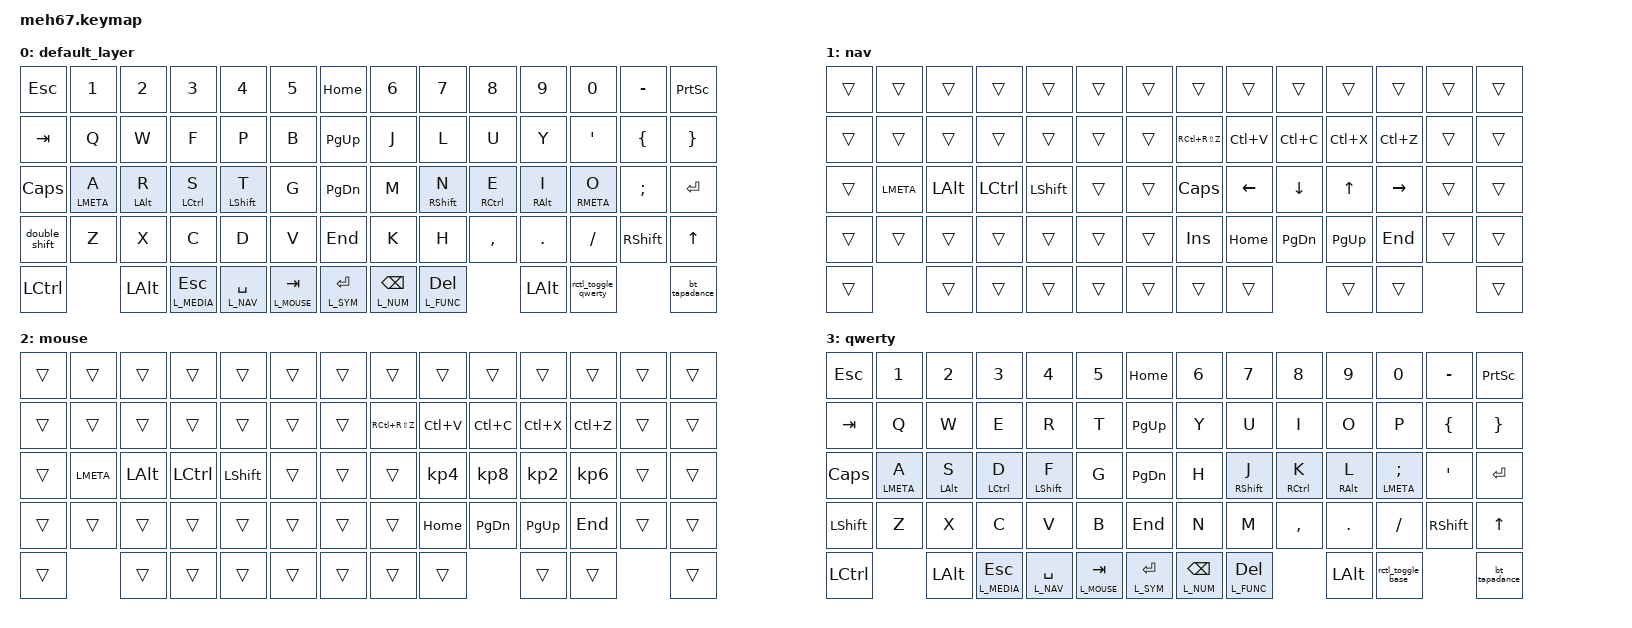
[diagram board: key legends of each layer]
/*
 * Copyright (c) 2020 The ZMK Contributors
 *
 * SPDX-License-Identifier: MIT
 */

#include <behaviors.dtsi>
#include <dt-bindings/zmk/keys.h>
#include <dt-bindings/zmk/bt.h>

#define L_BASE 0
#define L_NAV 1
#define L_MOUSE 2
#define L_QWERTY 3
#define L_NUM 4
#define L_SYM 5
#define L_FUNC 6
#define L_BT 7
#define L_MEDIA 8


// colemak macros
#define A_LMETA &mt LMETA A
#define R_LALT  &mt LALT R
#define S_LCTRL &mt LCTRL S
#define T_LSHFT &mt LSHFT T
#define N_RSHFT &mt RSHFT N
#define E_RCTRL &mt RCTRL E
#define I_RALT  &mt RALT I
#define O_RMETA &mt RMETA O

// qwerty versions
// a is the same
#define S_LALT  &mt LALT S
#define D_LCTRL &mt LCTRL D
#define F_LSHFT &mt LSHFT F
#define J_RSHFT &mt RSHFT J
#define K_RCTRL &mt RCTRL K
#define L_RALT  &mt RALT L
#define SEM_LMETA &mt LMETA SEMI

#define ______ &trans

&caps_word {
    continue-list = <UNDERSCORE MINUS>;
};
&lt {
    tapping-term-ms = <200>;
    quick-tap-ms = <200>;
};

&mt {
    tapping-term-ms = <300>;
    quick-tap-ms = <200>;
};



/ {
    macros {
        tln_base: type_base {
            label = "Type Base";
            compatible = "zmk,behavior-macro";
            #binding-cells = <0>;
            bindings = <&kp B &kp A &kp S &kp E>;
        };
        tln_nav: type_nav {
            label = "Type nav";
            compatible = "zmk,behavior-macro";
            #binding-cells = <0>;
            bindings = <&kp N &kp A &kp V>;
        };
        tln_mouse: type_mouse {
            label = "Type mouse";
            compatible = "zmk,behavior-macro";
            #binding-cells = <0>;
            bindings = <&kp M &kp O &kp U &kp S &kp E>;
        };
        tln_qwerty: type_qwerty {
            label = "Type qwerty";
            compatible = "zmk,behavior-macro";
            #binding-cells = <0>;
            bindings = <&kp Q &kp W &kp E &kp R &kp T &kp Y>;
        };
    };
};

/ {
    behaviors {
        // toggle qwerty if the K key is tapped twice
        rctl_toggle_qwerty: rctl_toggle_qwerty {
            label = "TOG_QWERTY";
            compatible = "zmk,behavior-tap-dance";
            #binding-cells = <0>;
            bindings =  < &kp RCTRL >, < &tog L_QWERTY >, < &tog L_BASE >;
        };

        rctl_toggle_base: rctl_toggle_base {
            label = "UNTOG_QWERTY";
            compatible = "zmk,behavior-tap-dance";
            #binding-cells = <0>;
            bindings =  < &kp RCTRL >, < &tog L_QWERTY >, < &tog L_BASE >;
        };

        bt_tapadance: bt_tapadance {
            label = "Switch bluetooth and clear profiles";
            compatible = "zmk,behavior-tap-dance";
            #binding-cells = <0>;
            bindings = < &bt BT_NXT >, < &bt BT_SEL 0 >, <&bt BT_CLR>;
        };

        double_shift: double_shift_capsword {
            label = "Double Shift Capsword";
            compatible = "zmk,behavior-tap-dance";
            #binding-cells = <0>;
            bindings = < &kp LSHFT >, < &caps_word >;
        };
    };

    keymap {
        compatible = "zmk,keymap";

        default_layer {
            bindings = <
// ┌───────────────┬───────────────┬───────────────┬───────────────┬───────────────┬───────────────┬───────────────┬───────────────┬───────────────┬───────────────┬───────────────┬───────────────┬───────────────┬───────────────┐
       &kp ESC        &kp N1           &kp N2           &kp N3           &kp N4          &kp N5         &kp HOME        &kp N6           &kp N7      &kp N8            &kp N9            &kp N0        &kp MINUS        &kp PSCRN
// ├───────────────┼───────────────┼───────────────┼───────────────┼───────────────┼───────────────┼───────────────┼───────────────┼───────────────┼───────────────┼───────────────┼───────────────┼───────────────┼───────────────┤
       &kp TAB        &kp Q            &kp W            &kp F            &kp P           &kp B          &kp PG_UP       &kp J            &kp L       &kp U             &kp Y             &kp SQT       &kp LBRC         &kp RBRC
// ├───────────────┼───────────────┼───────────────┼───────────────┼───────────────┼───────────────┼───────────────┼───────────────┼───────────────┼───────────────┼───────────────┼───────────────┼───────────────┼───────────────┤
       &kp CAPS       A_LMETA          R_LALT           S_LCTRL          T_LSHFT         &kp G          &kp PG_DN       &kp M            N_RSHFT     E_RCTRL           I_RALT           O_RMETA        &kp SEMI         &kp ENTER
// ├───────────────┼───────────────┼───────────────┼───────────────┼───────────────┼───────────────┼───────────────┼───────────────┼───────────────┼───────────────┼───────────────┼───────────────┼───────────────┼───────────────┤
     &double_shift      &kp Z        &kp X            &kp C            &kp D           &kp V          &kp END         &kp K            &kp H       &kp COMMA         &kp DOT           &kp FSLH      &kp RSHFT         &kp UP
// ├───────────────┴──────────┬────┴───────────────┴┬──────────────┴───┬───────────┴────────┬──────┴───────┬───────┴────┬──────────┴──────┬────────┴────────┬──────┴───────────────┴─────┬─────────┴───────────────┼───────────────┤
            &kp LCTRL               &kp LALT           &lt L_MEDIA ESC     &lt L_NAV SPACE   &lt L_MOUSE TAB &lt L_SYM ENTER &lt L_NUM BSPC  &lt L_FUNC DEL         &kp LALT                &rctl_toggle_qwerty      &bt_tapadance
// └──────────────────────────┴─────────────────────┴──────────────────┴────────────────────┴──────────────┴────────────┴─────────────────┴─────────────────┴────────────────────────────┴─────────────────────────┴───────────────┘
            >;
        };

        nav_layer {
                        label = "nav";
                        bindings = <
// ┌───────────────┬───────────────┬───────────────┬───────────────┬───────────────┬───────────────┬───────────────┬───────────────┬───────────────┬───────────────┬───────────────┬───────────────┬───────────────┬───────────────┐
       ______          ______          ______          ______          ______          ______          ______          ______          ______          ______          ______          ______          ______          ______
// ├───────────────┼───────────────┼───────────────┼───────────────┼───────────────┼───────────────┼───────────────┼───────────────┼───────────────┼───────────────┼───────────────┼───────────────┼───────────────┼───────────────┤
       ______            ______      ______            ______          ______          ______          ______        &kp RC(RS(Z))    &kp LC(V)      &kp LC(C)        &kp LC(X)        &kp LC(Z)        ______         ______
// ├───────────────┼───────────────┼───────────────┼───────────────┼───────────────┼───────────────┼───────────────┼───────────────┼───────────────┼───────────────┼───────────────┼───────────────┼───────────────┼───────────────┤
       ______           &kp LMETA    &kp LALT          &kp LCTRL      &kp LSHFT          ______          ______       &kp CAPS          &kp LEFT        &kp DOWN        &kp UP         &kp RIGHT         ______         ______
// ├───────────────┼───────────────┼───────────────┼───────────────┼───────────────┼───────────────┼───────────────┼───────────────┼───────────────┼───────────────┼───────────────┼───────────────┼───────────────┼───────────────┤
       ______            ______      ______            ______          ______          ______          ______          &kp INS           &kp HOME     &kp PG_DN        &kp PG_UP         &kp END       ______          ______
// ├───────────────┴──────────┬────┴───────────────┴┬──────────────┴───┬───────────┴────────┬──────┴───────┬───────┴────┬──────────┴──────┬────────┴────────┬──────┴───────────────┴─────┬─────────┴───────────────┼───────────────┤
       ______                         ______               ______              ______            ______         ______        ______            ______                 ______                      ______                ______
// └──────────────────────────┴─────────────────────┴──────────────────┴────────────────────┴──────────────┴────────────┴─────────────────┴─────────────────┴────────────────────────────┴─────────────────────────┴───────────────┘
                    >;
        };

        mouse_layer {
                label = "mouse";
                bindings = <

// ┌───────────────┬───────────────┬───────────────┬───────────────┬───────────────┬───────────────┬───────────────┬───────────────┬───────────────┬───────────────┬───────────────┬───────────────┬───────────────┬───────────────┐
        ______          ______          ______          ______          ______          ______          ______          ______          ______          ______          ______          ______          ______          ______
// ├───────────────┼───────────────┼───────────────┼───────────────┼───────────────┼───────────────┼───────────────┼───────────────┼───────────────┼───────────────┼───────────────┼───────────────┼───────────────┼───────────────┤
        ______            ______      ______            ______          ______          ______          ______        &kp RC(RS(Z))    &kp LC(V)      &kp LC(C)        &kp LC(X)        &kp LC(Z)        ______         ______
// ├───────────────┼───────────────┼───────────────┼───────────────┼───────────────┼───────────────┼───────────────┼───────────────┼───────────────┼───────────────┼───────────────┼───────────────┼───────────────┼───────────────┤
        ______           &kp LMETA    &kp LALT          &kp LCTRL      &kp LSHFT          ______          ______      ______           &kp KP_N4     &kp KP_N8       &kp KP_N2         &kp KP_N6         ______         ______
// ├───────────────┼───────────────┼───────────────┼───────────────┼───────────────┼───────────────┼───────────────┼───────────────┼───────────────┼───────────────┼───────────────┼───────────────┼───────────────┼───────────────┤
        ______            ______      ______            ______          ______          ______          ______          ______           &kp HOME     &kp PG_DN        &kp PG_UP         &kp END       ______          ______
// ├───────────────┴──────────┬────┴───────────────┴┬──────────────┴───┬───────────┴────────┬──────┴───────┬───────┴────┬──────────┴──────┬────────┴────────┬──────┴───────────────┴─────┬─────────┴───────────────┼───────────────┤
       ______                         ______               ______              ______            ______         ______        ______            ______                 ______                      ______                ______
// └──────────────────────────┴─────────────────────┴──────────────────┴────────────────────┴──────────────┴────────────┴─────────────────┴─────────────────┴────────────────────────────┴─────────────────────────┴───────────────┘
//                                                                                      TODO: add these in when you add mouse support and the other missing stuff &rclick       &lclick
                >;
        };
        qwerty {
                label = "qwerty";
    bindings = <
// ┌───────────────┬───────────────┬───────────────┬───────────────┬───────────────┬───────────────┬───────────────┬───────────────┬───────────────┬───────────────┬───────────────┬───────────────┬───────────────┬───────────────┐
        &kp ESC        &kp N1           &kp N2           &kp N3           &kp N4          &kp N5         &kp HOME        &kp N6           &kp N7      &kp N8            &kp N9            &kp N0        &kp MINUS        &kp PSCRN
// ├───────────────┼───────────────┼───────────────┼───────────────┼───────────────┼───────────────┼───────────────┼───────────────┼───────────────┼───────────────┼───────────────┼───────────────┼───────────────┼───────────────┤
        &kp TAB        &kp Q            &kp W            &kp E            &kp R           &kp T          &kp PG_UP       &kp Y            &kp U       &kp I             &kp O             &kp P         &kp LBRC         &kp RBRC
// ├───────────────┼───────────────┼───────────────┼───────────────┼───────────────┼───────────────┼───────────────┼───────────────┼───────────────┼───────────────┼───────────────┼───────────────┼───────────────┼───────────────┤
        &kp CAPS       A_LMETA          S_LALT           D_LCTRL        F_LSHFT         &kp G          &kp PG_DN         &kp H            J_RSHFT       K_RCTRL           L_RALT           SEM_LMETA       &kp SQT        &kp ENTER
// ├───────────────┼───────────────┼───────────────┼───────────────┼───────────────┼───────────────┼───────────────┼───────────────┼───────────────┼───────────────┼───────────────┼───────────────┼───────────────┼───────────────┤
        &kp LSHFT      &kp Z            &kp X            &kp C            &kp V           &kp B          &kp END         &kp N            &kp M       &kp COMMA         &kp DOT           &kp FSLH      &kp RSHFT        &kp UP
// ├───────────────┴──────────┬────┴───────────────┴┬──────────────┴───┬───────────┴────────┬──────┴───────┬───────┴────┬──────────┴──────┬────────┴────────┬──────┴───────────────┴─────┬─────────┴───────────────┼───────────────┤
            &kp LCTRL               &kp LALT           &lt L_MEDIA ESC     &lt L_NAV SPACE   &lt L_MOUSE TAB &lt L_SYM ENTER &lt L_NUM BSPC  &lt L_FUNC DEL         &kp LALT                 &rctl_toggle_base     &bt_tapadance
// └──────────────────────────┴─────────────────────┴──────────────────┴────────────────────┴──────────────┴────────────┴─────────────────┴─────────────────┴────────────────────────────┴─────────────────────────┴───────────────┘
                    >;
                };
//         num_layer {
    //             label = "num";
    //             bindings = <
    // &kp LBKT     &kp N7       &kp N8       &kp N9       &kp RBKT                                              ______       ______       ______       ______       ______
    // &kp SEMI     &kp N4       &kp N5       &kp N6       &kp EQUAL                                             ______       &kp LSHFT    &kp LCTRL    &kp LALT     &kp LMETA
    // &kp GRAVE    &kp N1       &kp N2       &kp N3       &kp BSLH     ______   ______         ______   ______  ______       ______       ______       ______       ______
    //              ______       &kp DOT      &kp N0       &kp MINUS    ______                           ______  ______       ______       ______
    //             >;
//         };tt

//         symbol_layer {aattttt
    //             label = "symbol";
    //             bindings = <
    // &kp LBRC     &kp AMPS     &kp ASTRK    &kp LPAR     &kp RBRC                                                     ______       ______       ______       ______       ______
    // &kp COLON    &kp DLLR     &kp PRCNT    &kp CARET    &kp PLUS                                                     ______       &kp LSHFT    &kp LCTRL    &kp LALT     &kp LMETA
    // &kp TILDE    &kp EXCL     &kp AT       &kp HASH     &kp PIPE     ______  ______            ______   ______     ______       ______       ______       ______       ______
    //                           ______       &kp LPAR     &kp  RPAR    &kp UNDER                          ______     ______       ______       ______
    //             >;
//         };

//         function_layer {
    //             label = "function";
    //             bindings = <
    // &kp F12    &kp F7       &kp F8       &kp F9       &kp PSCRN                                           &kp F13       &kp F14     &kp F15   &kp F16  &kp F17
    // &kp F11    &kp F4       &kp F5       &kp F6       &kp SLCK                                            ______       &kp LSHFT    &kp LCTRL    &kp LALT     &kp LMETA
    // &kp F10    &kp F1       &kp F2       &kp F3       &kp PAUSE_BREAK  ______  ______            ______  ______    &kp F18       &kp F19       &kp F20       &kp F21   &kp F22
    //                         ______       &kp K_APP    &kp SPACE        &kp TAB                  ______    ______       ______       ______
    //             >;
//         };

//         bluetooth {
    //                         bindings = <
    // &bt BT_SEL 0 &bt BT_SEL 1 &bt BT_SEL 2 &bt BT_SEL 3 ______                                        &bt BT_SEL 0 &bt BT_SEL 1 &bt BT_SEL 2 &bt BT_SEL 3 ______
    // ______       ______       ______       ______       ______                                        ______     ______    ______  ______  ______
    // ______       ______       ______       ______       ______  ______  ______        ______  ______  ______     ______    ______  ______ ______
    //                              ______       ______       ______  ______                     ______  ______     ______    ______
    //                         >;
//                 };
//         };

// |----1----------|----2----------|----3----------|----4----------|----5----------|----6----------|----7----------|----8----------|----9----------|---------10----|---------11----|---------12----|---------13----|---------14----|
// ┌───────────────┬───────────────┬───────────────┬───────────────┬───────────────┬───────────────┬───────────────┬───────────────┬───────────────┬───────────────┬───────────────┬───────────────┬───────────────┬───────────────┐
//   ______          ______          ______          ______          ______          ______          ______          ______          ______          ______          ______          ______          ______          ______
// ├───────────────┼───────────────┼───────────────┼───────────────┼───────────────┼───────────────┼───────────────┼───────────────┼───────────────┼───────────────┼───────────────┼───────────────┼───────────────┼───────────────┤
//   ______          ______          ______          ______          ______          ______          ______          ______          ______          ______          ______          ______          ______          ______
// ├───────────────┼───────────────┼───────────────┼───────────────┼───────────────┼───────────────┼───────────────┼───────────────┼───────────────┼───────────────┼───────────────┼───────────────┼───────────────┼───────────────┤
//   ______          ______          ______          ______          ______          ______          ______          ______          ______          ______          ______          ______          ______          ______
// ├───────────────┼───────────────┼───────────────┼───────────────┼───────────────┼───────────────┼───────────────┼───────────────┼───────────────┼───────────────┼───────────────┼───────────────┼───────────────┼───────────────┤
//   ______          ______          ______          ______          ______          ______          ______          ______          ______          ______          ______          ______          ______          ______
// ├───────────────┴──────────┬────┴───────────────┴┬──────────────┴───┬───────────┴────────┬──────┴───────┬───────┴────┬──────────┴──────┬────────┴────────┬──────┴───────────────┴─────┬─────────┴───────────────┼───────────────┤
//   ______                     ______                     ______           ______             ______             ______       ______            ______             ______                      ______                    ______
// └──────────────────────────┴─────────────────────┴──────────────────┴────────────────────┴──────────────┴────────────┴─────────────────┴─────────────────┴────────────────────────────┴─────────────────────────┴───────────────┘

};
};
